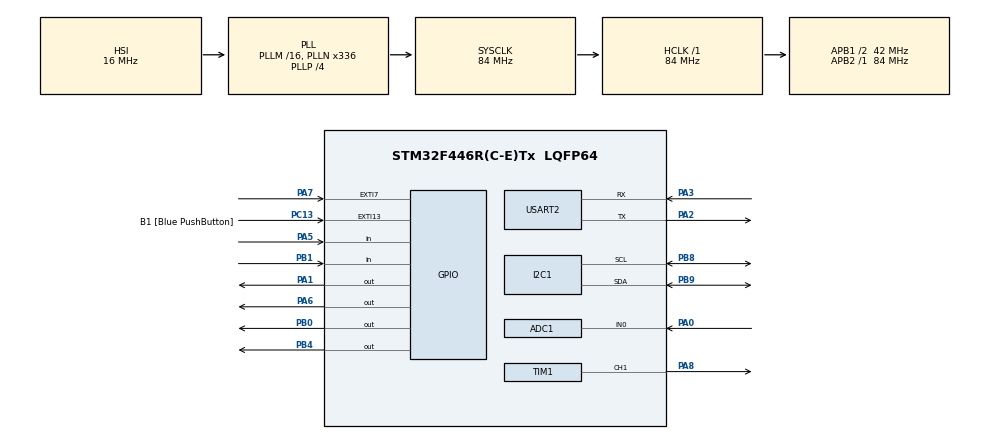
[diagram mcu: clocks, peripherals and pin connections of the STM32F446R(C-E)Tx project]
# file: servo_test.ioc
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ADC1.Channel-0\#ChannelRegularConversion=ADC_CHANNEL_0
ADC1.NbrOfConversionFlag=1
ADC1.Rank-0\#ChannelRegularConversion=1
ADC1.SamplingTime-0\#ChannelRegularConversion=ADC_SAMPLETIME_3CYCLES
ADC1.master=1
Mcu.Family=STM32F4
Mcu.Name=STM32F446R(C-E)Tx
Mcu.Package=LQFP64
NVIC.EXTI15_10_IRQn=true\:0\:0\:false\:false\:true\:true\:true\:true
NVIC.EXTI9_5_IRQn=true\:0\:0\:false\:false\:true\:true\:true\:true
NVIC.PriorityGroup=NVIC_PRIORITYGROUP_0
PA0-WKUP.Signal=ADCx_IN0
PA1.Signal=GPIO_Output
PA13.GPIO_Label=TMS
PA13.Mode=Serial_Wire
PA13.Signal=SYS_JTMS-SWDIO
PA14.GPIO_Label=TCK
PA14.Mode=Serial_Wire
PA14.Signal=SYS_JTCK-SWCLK
PA2.Mode=Asynchronous
PA2.Signal=USART2_TX
PA3.Mode=Asynchronous
PA3.Signal=USART2_RX
PA5.Signal=GPIO_Input
PA6.Signal=GPIO_Output
PA7.GPIO_PuPd=GPIO_PULLUP
PA7.Signal=GPXTI7
PA8.Signal=S_TIM1_CH1
PB0.PinState=GPIO_PIN_SET
PB0.Signal=GPIO_Output
PB1.Signal=GPIO_Input
PB3.GPIO_Label=SWO
PB3.Signal=SYS_JTDO-SWO
PB4.Signal=GPIO_Output
PB8.Mode=I2C
PB8.Signal=I2C1_SCL
PB9.Mode=I2C
PB9.Signal=I2C1_SDA
PC13.GPIO_Label=B1 [Blue PushButton]
PC13.GPIO_ModeDefaultEXTI=GPIO_MODE_IT_FALLING
PC13.Signal=GPXTI13
PC14-OSC32_IN.Mode=LSE-External-Oscillator
PC14-OSC32_IN.Signal=RCC_OSC32_IN
PC15-OSC32_OUT.Mode=LSE-External-Oscillator
PC15-OSC32_OUT.Signal=RCC_OSC32_OUT
PH0-OSC_IN.Mode=HSE-External-Oscillator
PH0-OSC_IN.Signal=RCC_OSC_IN
PH1-OSC_OUT.Mode=HSE-External-Oscillator
PH1-OSC_OUT.Signal=RCC_OSC_OUT
ProjectManager.HeapSize=0x200
ProjectManager.StackSize=0x400
ProjectManager.TargetToolchain=STM32CubeIDE
RCC.48MHZClocksFreq_Value=84000000
RCC.AHBFreq_Value=84000000
RCC.APB1CLKDivider=RCC_HCLK_DIV2
RCC.APB1Freq_Value=42000000
RCC.APB1TimFreq_Value=84000000
RCC.APB2Freq_Value=84000000
RCC.APB2TimFreq_Value=84000000
RCC.CortexFreq_Value=84000000
RCC.FLatency-AdvancedSettings=FLASH_LATENCY_2
RCC.HCLKFreq_Value=84000000
RCC.HSE_VALUE=8000000
RCC.HSI_VALUE=16000000
RCC.PLLN=336
RCC.PLLP=RCC_PLLP_DIV4
RCC.SYSCLKFreq_VALUE=84000000
RCC.SYSCLKSource=RCC_SYSCLKSOURCE_PLLCLK
RCC.USBFreq_Value=168000000
RCC.VCOOutputFreq_Value=336000000
SH.ADCx_IN0.0=ADC1_IN0,IN0
SH.S_TIM1_CH1.0=TIM1_CH1,PWM Generation1 CH1
TIM1.Channel-PWM\ Generation1\ CH1=TIM_CHANNEL_1
TIM1.Period=19999
TIM1.Prescaler=89
TIM2.Period=65535
TIM2.Prescaler=84-1
USART2.VirtualMode=VM_ASYNC
VP_TIM1_VS_ClockSourceINT.Mode=Internal
VP_TIM2_VS_ClockSourceINT.Mode=Internal
board=NUCLEO-F446RE

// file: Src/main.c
/* USER CODE BEGIN Header */
/**
  ******************************************************************************
  * @file           : main.c
  * @brief          : Main program body
  ******************************************************************************
  * @attention
  *
  * Copyright (c) 2026 STMicroelectronics.
  * All rights reserved.
  *
  * This software is licensed under terms that can be found in the LICENSE file
  * in the root directory of this software component.
  * If no LICENSE file comes with this software, it is provided AS-IS.
  *
  ******************************************************************************
  */
/* USER CODE END Header */
#include "main.h"

/* USER CODE BEGIN Includes */
#include <stdio.h>
#include <string.h>
#include "lcd_i2c.h"
/* USER CODE END Includes */

/* USER CODE BEGIN PD */
/* USER CODE BEGIN PD */
#define DHT11_PIN GPIO_PIN_1
#define DHT11_GPIO_Port GPIOA
/* USER CODE END PD */

ADC_HandleTypeDef hadc1;

I2C_HandleTypeDef hi2c1;

TIM_HandleTypeDef htim1;
TIM_HandleTypeDef htim2;

UART_HandleTypeDef huart2;

/* USER CODE BEGIN PV */
// ===== SYSTEM STATE =====
uint8_t alarm_type = 0;
uint8_t gas_state = 0;

// ===== SERVO =====
uint16_t servo_pos = 1500;

// ===== TIMERS =====
uint32_t last_sensor_time = 0;
uint32_t last_display_time = 0;
uint32_t last_uart_time = 0;
#define GAS_THRESHOLD      350
#define PRESSURE_LOW       960
#define FLOW_MIN           0.5
#define GAS_ON_THRESHOLD   350
#define GAS_OFF_THRESHOLD  300
volatile uint32_t flow_pulse_count = 0;
float flow_rate = 0;
uint32_t last_flow_time = 0;
uint32_t threshold = 350;
uint32_t gas_value = 0;
uint8_t vibration = 0;
uint32_t buzzer_timer = 0;
uint8_t buzzer_state = 0;
float dht_temp = 0;
long hx_raw = 0;
float pressure = 0;

// FLAGS
uint8_t gas_leak = 0;
uint8_t pressure_issue = 0;
uint8_t flow_issue = 0;
uint8_t vibration_alert = 0;
/* USER CODE END PV */

void SystemClock_Config(void);
static void MX_GPIO_Init(void);
static void MX_TIM1_Init(void);
static void MX_USART2_UART_Init(void);
static void MX_ADC1_Init(void);
static void MX_TIM2_Init(void);
static void MX_I2C1_Init(void);
/* USER CODE BEGIN PFP */
void delay_us(uint16_t us);
uint8_t DHT11_Read(float *temp);
/* USER CODE END PFP */

/* USER CODE BEGIN 0 */
void delay_us(uint16_t us)
{
    __HAL_TIM_SET_COUNTER(&htim2, 0);
    while (__HAL_TIM_GET_COUNTER(&htim2) < us);
}

void Alarm_On()
{
    HAL_GPIO_WritePin(GPIOA, GPIO_PIN_6, GPIO_PIN_SET);
}

void Alarm_Off()
{
    HAL_GPIO_WritePin(GPIOA, GPIO_PIN_6, GPIO_PIN_RESET);
}
// ===== HX710B =====
#define HX_DT_PORT GPIOB
#define HX_DT_PIN  GPIO_PIN_1

#define HX_SCK_PORT GPIOB
#define HX_SCK_PIN  GPIO_PIN_4

long HX710B_Read(void)
{
    long data = 0;

    // Wait for data ready (DT LOW)
    uint32_t timeout = HAL_GetTick();

    while(HAL_GPIO_ReadPin(HX_DT_PORT, HX_DT_PIN))
    {
        if(HAL_GetTick() - timeout > 100)
            return 0; // prevent hang
    }

    for(int i = 0; i < 24; i++)
    {
        HAL_GPIO_WritePin(HX_SCK_PORT, HX_SCK_PIN, GPIO_PIN_SET);
        delay_us(1);

        data = data << 1;

        HAL_GPIO_WritePin(HX_SCK_PORT, HX_SCK_PIN, GPIO_PIN_RESET);
        delay_us(1);

        if(HAL_GPIO_ReadPin(HX_DT_PORT, HX_DT_PIN))
            data++;
    }

    // 25th pulse
    HAL_GPIO_WritePin(HX_SCK_PORT, HX_SCK_PIN, GPIO_PIN_SET);
    delay_us(1);
    HAL_GPIO_WritePin(HX_SCK_PORT, HX_SCK_PIN, GPIO_PIN_RESET);
    delay_us(1);

    // Convert to signed
    if(data & 0x800000)
        data |= 0xFF000000;

    return data;
}
// ===== DHT22 =====
uint8_t DHT11_Read(float *temp)
{
    uint8_t data[5] = {0};
    GPIO_InitTypeDef GPIO_InitStruct = {0};

    // ---------- STEP 1: OUTPUT LOW ----------
    GPIO_InitStruct.Pin = DHT11_PIN;
    GPIO_InitStruct.Mode = GPIO_MODE_OUTPUT_PP;
    GPIO_InitStruct.Pull = GPIO_NOPULL;
    HAL_GPIO_Init(DHT11_GPIO_Port, &GPIO_InitStruct);

    HAL_GPIO_WritePin(DHT11_GPIO_Port, DHT11_PIN, GPIO_PIN_RESET);
    HAL_Delay(18);

    HAL_GPIO_WritePin(DHT11_GPIO_Port, DHT11_PIN, GPIO_PIN_SET);
    delay_us(30);

    // ---------- STEP 2: INPUT ----------
    GPIO_InitStruct.Mode = GPIO_MODE_INPUT;
    HAL_GPIO_Init(DHT11_GPIO_Port, &GPIO_InitStruct);

    // ---------- STEP 3: WAIT RESPONSE ----------
    if(HAL_GPIO_ReadPin(DHT11_GPIO_Port, DHT11_PIN))
        return 0;

    uint32_t timeout = HAL_GetTick();
    while(!HAL_GPIO_ReadPin(DHT11_GPIO_Port, DHT11_PIN))
    {
        if(HAL_GetTick() - timeout > 2) return 0;
    }
    while(HAL_GPIO_ReadPin(DHT11_GPIO_Port, DHT11_PIN));

    // ---------- STEP 4: READ 40 BITS ----------
    for(int i = 0; i < 40; i++)
    {
        while(!HAL_GPIO_ReadPin(DHT11_GPIO_Port, DHT11_PIN));
        delay_us(40);

        if(HAL_GPIO_ReadPin(DHT11_GPIO_Port, DHT11_PIN))
            data[i/8] |= (1 << (7 - (i % 8)));

        while(HAL_GPIO_ReadPin(DHT11_GPIO_Port, DHT11_PIN));
    }

    // ---------- STEP 5: BACK TO OUTPUT ----------
    GPIO_InitStruct.Mode = GPIO_MODE_OUTPUT_PP;
    HAL_GPIO_Init(DHT11_GPIO_Port, &GPIO_InitStruct);
    HAL_GPIO_WritePin(DHT11_GPIO_Port, DHT11_PIN, GPIO_PIN_SET);

    // ---------- STEP 6: CHECKSUM ----------
    if(data[4] != (data[0] + data[1] + data[2] + data[3]))
        return 0;

    // ---------- STEP 7: TEMPERATURE ----------
    *temp = data[2];   // DHT11 gives integer temp

    return 1;
}
/* USER CODE END 0 */

int main(void)
{

  /* MCU Configuration--------------------------------------------------------*/

  /* Reset of all peripherals, Initializes the Flash interface and the Systick. */
  HAL_Init();

  /* Configure the system clock */
  SystemClock_Config();

  /* Initialize all configured peripherals */
  MX_GPIO_Init();
  MX_TIM1_Init();
  MX_USART2_UART_Init();
  MX_ADC1_Init();
  MX_TIM2_Init();
  MX_I2C1_Init();
  /* USER CODE BEGIN 2 */
  HAL_TIM_PWM_Start(&htim1, TIM_CHANNEL_1);
  HAL_TIM_Base_Start(&htim2);

  LCD_Init(&hi2c1);
  LCD_Clear();
  LCD_Set_Cursor(0,0);
  LCD_Send_String("SYSTEM START");
  HAL_Delay(1000);
  LCD_Clear();
  /* USER CODE END 2 */

  /* Infinite loop */
  /* USER CODE BEGIN WHILE */
  /* USER CODE BEGIN WHILE */
  /* USER CODE BEGIN WHILE */
  while (1)
  {
      uint32_t now = HAL_GetTick();

      // ================= SENSOR READ (EVERY 200 ms) =================
      // ================= SENSOR READ =================
      if(now - last_sensor_time >= 1000)   // DHT22 needs slow read
      {
          last_sensor_time = now;

          // ---- GAS ----
          HAL_ADC_Start(&hadc1);
          HAL_ADC_PollForConversion(&hadc1, 10);
          gas_value = HAL_ADC_GetValue(&hadc1);

          // ---- DHT22 ----

          if(DHT11_Read(&dht_temp) == 0)
          {
              HAL_Delay(10);  // small retry delay

              if(DHT11_Read(&dht_temp) == 0)
              {
                  dht_temp = -1; // still failed
              }
          }
          // ---- HX710B ----
          long sum = 0;
          int valid = 0;

          for(int i=0;i<5;i++)
          {
              long val = HX710B_Read();

              if(val != 0)   // ignore timeout values
              {
                  sum += val;
                  valid++;
              }
          }

        	  static long hx_filtered = 0;

        	  if(valid > 0)
        	  {
        	      long new_val = sum / valid;

        	      // simple low-pass filter
        	      hx_filtered = (hx_filtered * 0.8) + (new_val * 0.2);

        	      hx_raw = hx_filtered;
        	  }
          else
              hx_raw = 0;  // sensor fail

          // Convert to pressure (CALIBRATE THIS)
          pressure = (hx_raw + 857600) / 1000.0;// adjust later

          // ---- VIBRATION ----
          vibration = HAL_GPIO_ReadPin(GPIOA, GPIO_PIN_5);

          // ---- FLOW ----
          if(now - last_flow_time >= 1000)
          {
              flow_rate = flow_pulse_count / 7.5;
              flow_pulse_count = 0;
              last_flow_time = now;
          }
      }
      // ================= PROCESS LOGIC =================
      // GAS hysteresis using calibrated threshold
      if(gas_value > threshold)
          gas_state = 1;
      else if(gas_value < (threshold - 50))
          gas_state = 0;

      pressure_issue = (pressure < PRESSURE_LOW);
      uint8_t flow_issue = (flow_rate < FLOW_MIN);
      uint8_t vibration_alert = (vibration == 1);

      // PRIORITY LOGIC
      if (gas_state && pressure_issue)
          alarm_type = 3;
      else if (gas_state)
          alarm_type = 2;
      else if (!gas_state && flow_issue)
          alarm_type = 1;
      else if (vibration_alert)
          alarm_type = 4;
      else
          alarm_type = 0;

      // ================= ACTUATORS =================
      uint16_t new_pos = servo_pos;

      switch(alarm_type)
      {
          case 3: new_pos = 1000; break;
          case 2: new_pos = 1200; break;
          default: new_pos = 2000; break;
      }

      if(new_pos != servo_pos)
      {
          servo_pos = new_pos;
          __HAL_TIM_SET_COMPARE(&htim1, TIM_CHANNEL_1, servo_pos);
      }

      // Buzzer (non-blocking)
      // ================= BUZZER PATTERN =================
      uint32_t now_buzz = HAL_GetTick();

      switch(alarm_type)
      {
          case 3: // 🔴 CRITICAL (FAST BEEP)
              if(now_buzz - buzzer_timer >= 100)
              {
                  buzzer_timer = now_buzz;
                  buzzer_state ^= 1;
                  HAL_GPIO_WritePin(GPIOA, GPIO_PIN_6, buzzer_state);
              }
              break;

          case 2: // 🟠 GAS (MEDIUM BEEP)
              if(now_buzz - buzzer_timer >= 300)
              {
                  buzzer_timer = now_buzz;
                  buzzer_state ^= 1;
                  HAL_GPIO_WritePin(GPIOA, GPIO_PIN_6, buzzer_state);
              }
              break;

          case 1: // 🟡 FLOW (SLOW BEEP)
              if(now_buzz - buzzer_timer >= 700)
              {
                  buzzer_timer = now_buzz;
                  buzzer_state ^= 1;
                  HAL_GPIO_WritePin(GPIOA, GPIO_PIN_6, buzzer_state);
              }
              break;

          case 4: // 🟣 VIBRATION (DOUBLE TAP)
              if(now_buzz - buzzer_timer >= 200)
              {
                  buzzer_timer = now_buzz;
                  buzzer_state ^= 1;
                  HAL_GPIO_WritePin(GPIOA, GPIO_PIN_6, buzzer_state);
              }
              break;

          default: // 🟢 SAFE
              HAL_GPIO_WritePin(GPIOA, GPIO_PIN_6, GPIO_PIN_RESET);
              buzzer_state = 0;
              break;
      }

      // ================= DISPLAY (EVERY 500 ms) =================
      if(now - last_display_time >= 500)
      {
          last_display_time = now;

          char line1[17];
          char line2[17];
          sprintf(line1, "G:%lu P:%.1f", gas_value, pressure);

          if(alarm_type == 3)
              sprintf(line2, "CRITICAL!");
          else if(alarm_type == 2)
              sprintf(line2, "GAS ALERT");
          else if(alarm_type == 1)
              sprintf(line2, "FLOW LOW");
          else if(alarm_type == 4)
              sprintf(line2, "VIBRATION");
          else
              sprintf(line2, "FLOW:%.1f OK", flow_rate);

          LCD_Clear();

          LCD_Set_Cursor(0,0);
          LCD_Send_String(line1);

          LCD_Set_Cursor(1,0);
          LCD_Send_String(line2);
      }
      int _write(int file, char *ptr, int len)
      {
          HAL_UART_Transmit(&huart2, (uint8_t*)ptr, len, HAL_MAX_DELAY);
          return len;
      }

      // ================= UART DEBUG (EVERY 1 sec) =================
      if(now - last_uart_time >= 1000)
      {
          last_uart_time = now;

          char msg[200];

          sprintf(msg,
          "%lu,%.1f,%.2f,%.2f,%d,%d\r\n",
          gas_value,
          dht_temp,
          pressure,
          flow_rate,
          vibration,
          alarm_type);

          HAL_UART_Transmit(&huart2, (uint8_t*)msg, strlen(msg), 100);
      }  }
    /* USER CODE END WHILE */

}

void SystemClock_Config(void)
{
  RCC_OscInitTypeDef RCC_OscInitStruct = {0};
  RCC_ClkInitTypeDef RCC_ClkInitStruct = {0};

  /** Configure the main internal regulator output voltage
  */
  __HAL_RCC_PWR_CLK_ENABLE();
  __HAL_PWR_VOLTAGESCALING_CONFIG(PWR_REGULATOR_VOLTAGE_SCALE3);

  /** Initializes the RCC Oscillators according to the specified parameters
  * in the RCC_OscInitTypeDef structure.
  */
  RCC_OscInitStruct.OscillatorType = RCC_OSCILLATORTYPE_HSI;
  RCC_OscInitStruct.HSIState = RCC_HSI_ON;
  RCC_OscInitStruct.HSICalibrationValue = RCC_HSICALIBRATION_DEFAULT;
  RCC_OscInitStruct.PLL.PLLState = RCC_PLL_ON;
  RCC_OscInitStruct.PLL.PLLSource = RCC_PLLSOURCE_HSI;
  RCC_OscInitStruct.PLL.PLLM = 16;
  RCC_OscInitStruct.PLL.PLLN = 336;
  RCC_OscInitStruct.PLL.PLLP = RCC_PLLP_DIV4;
  RCC_OscInitStruct.PLL.PLLQ = 2;
  RCC_OscInitStruct.PLL.PLLR = 2;
  if (HAL_RCC_OscConfig(&RCC_OscInitStruct) != HAL_OK)
  {
    Error_Handler();
  }

  /** Initializes the CPU, AHB and APB buses clocks
  */
  RCC_ClkInitStruct.ClockType = RCC_CLOCKTYPE_HCLK|RCC_CLOCKTYPE_SYSCLK
                              |RCC_CLOCKTYPE_PCLK1|RCC_CLOCKTYPE_PCLK2;
  RCC_ClkInitStruct.SYSCLKSource = RCC_SYSCLKSOURCE_PLLCLK;
  RCC_ClkInitStruct.AHBCLKDivider = RCC_SYSCLK_DIV1;
  RCC_ClkInitStruct.APB1CLKDivider = RCC_HCLK_DIV2;
  RCC_ClkInitStruct.APB2CLKDivider = RCC_HCLK_DIV1;

  if (HAL_RCC_ClockConfig(&RCC_ClkInitStruct, FLASH_LATENCY_2) != HAL_OK)
  {
    Error_Handler();
  }
}

static void MX_ADC1_Init(void)
{

  ADC_ChannelConfTypeDef sConfig = {0};

  /** Configure the global features of the ADC (Clock, Resolution, Data Alignment and number of conversion)
  */
  hadc1.Instance = ADC1;
  hadc1.Init.ClockPrescaler = ADC_CLOCK_SYNC_PCLK_DIV4;
  hadc1.Init.Resolution = ADC_RESOLUTION_12B;
  hadc1.Init.ScanConvMode = DISABLE;
  hadc1.Init.ContinuousConvMode = DISABLE;
  hadc1.Init.DiscontinuousConvMode = DISABLE;
  hadc1.Init.ExternalTrigConvEdge = ADC_EXTERNALTRIGCONVEDGE_NONE;
  hadc1.Init.ExternalTrigConv = ADC_SOFTWARE_START;
  hadc1.Init.DataAlign = ADC_DATAALIGN_RIGHT;
  hadc1.Init.NbrOfConversion = 1;
  hadc1.Init.DMAContinuousRequests = DISABLE;
  hadc1.Init.EOCSelection = ADC_EOC_SINGLE_CONV;
  if (HAL_ADC_Init(&hadc1) != HAL_OK)
  {
    Error_Handler();
  }

  /** Configure for the selected ADC regular channel its corresponding rank in the sequencer and its sample time.
  */
  sConfig.Channel = ADC_CHANNEL_0;
  sConfig.Rank = 1;
  sConfig.SamplingTime = ADC_SAMPLETIME_3CYCLES;
  if (HAL_ADC_ConfigChannel(&hadc1, &sConfig) != HAL_OK)
  {
    Error_Handler();
  }

}

static void MX_I2C1_Init(void)
{

  hi2c1.Instance = I2C1;
  hi2c1.Init.ClockSpeed = 100000;
  hi2c1.Init.DutyCycle = I2C_DUTYCYCLE_2;
  hi2c1.Init.OwnAddress1 = 0;
  hi2c1.Init.AddressingMode = I2C_ADDRESSINGMODE_7BIT;
  hi2c1.Init.DualAddressMode = I2C_DUALADDRESS_DISABLE;
  hi2c1.Init.OwnAddress2 = 0;
  hi2c1.Init.GeneralCallMode = I2C_GENERALCALL_DISABLE;
  hi2c1.Init.NoStretchMode = I2C_NOSTRETCH_DISABLE;
  if (HAL_I2C_Init(&hi2c1) != HAL_OK)
  {
    Error_Handler();
  }

}

static void MX_TIM1_Init(void)
{

  TIM_ClockConfigTypeDef sClockSourceConfig = {0};
  TIM_MasterConfigTypeDef sMasterConfig = {0};
  TIM_OC_InitTypeDef sConfigOC = {0};
  TIM_BreakDeadTimeConfigTypeDef sBreakDeadTimeConfig = {0};

  htim1.Instance = TIM1;
  htim1.Init.Prescaler = 89;
  htim1.Init.CounterMode = TIM_COUNTERMODE_UP;
  htim1.Init.Period = 19999;
  htim1.Init.ClockDivision = TIM_CLOCKDIVISION_DIV1;
  htim1.Init.RepetitionCounter = 0;
  htim1.Init.AutoReloadPreload = TIM_AUTORELOAD_PRELOAD_DISABLE;
  if (HAL_TIM_Base_Init(&htim1) != HAL_OK)
  {
    Error_Handler();
  }
  sClockSourceConfig.ClockSource = TIM_CLOCKSOURCE_INTERNAL;
  if (HAL_TIM_ConfigClockSource(&htim1, &sClockSourceConfig) != HAL_OK)
  {
    Error_Handler();
  }
  if (HAL_TIM_PWM_Init(&htim1) != HAL_OK)
  {
    Error_Handler();
  }
  sMasterConfig.MasterOutputTrigger = TIM_TRGO_RESET;
  sMasterConfig.MasterSlaveMode = TIM_MASTERSLAVEMODE_DISABLE;
  if (HAL_TIMEx_MasterConfigSynchronization(&htim1, &sMasterConfig) != HAL_OK)
  {
    Error_Handler();
  }
  sConfigOC.OCMode = TIM_OCMODE_PWM1;
  sConfigOC.Pulse = 0;
  sConfigOC.OCPolarity = TIM_OCPOLARITY_HIGH;
  sConfigOC.OCNPolarity = TIM_OCNPOLARITY_HIGH;
  sConfigOC.OCFastMode = TIM_OCFAST_DISABLE;
  sConfigOC.OCIdleState = TIM_OCIDLESTATE_RESET;
  sConfigOC.OCNIdleState = TIM_OCNIDLESTATE_RESET;
  if (HAL_TIM_PWM_ConfigChannel(&htim1, &sConfigOC, TIM_CHANNEL_1) != HAL_OK)
  {
    Error_Handler();
  }
  sBreakDeadTimeConfig.OffStateRunMode = TIM_OSSR_DISABLE;
  sBreakDeadTimeConfig.OffStateIDLEMode = TIM_OSSI_DISABLE;
  sBreakDeadTimeConfig.LockLevel = TIM_LOCKLEVEL_OFF;
  sBreakDeadTimeConfig.DeadTime = 0;
  sBreakDeadTimeConfig.BreakState = TIM_BREAK_DISABLE;
  sBreakDeadTimeConfig.BreakPolarity = TIM_BREAKPOLARITY_HIGH;
  sBreakDeadTimeConfig.AutomaticOutput = TIM_AUTOMATICOUTPUT_DISABLE;
  if (HAL_TIMEx_ConfigBreakDeadTime(&htim1, &sBreakDeadTimeConfig) != HAL_OK)
  {
    Error_Handler();
  }
  HAL_TIM_MspPostInit(&htim1);

}

static void MX_TIM2_Init(void)
{

  TIM_ClockConfigTypeDef sClockSourceConfig = {0};
  TIM_MasterConfigTypeDef sMasterConfig = {0};

  htim2.Instance = TIM2;
  htim2.Init.Prescaler = 84-1;
  htim2.Init.CounterMode = TIM_COUNTERMODE_UP;
  htim2.Init.Period = 65535;
  htim2.Init.ClockDivision = TIM_CLOCKDIVISION_DIV1;
  htim2.Init.AutoReloadPreload = TIM_AUTORELOAD_PRELOAD_DISABLE;
  if (HAL_TIM_Base_Init(&htim2) != HAL_OK)
  {
    Error_Handler();
  }
  sClockSourceConfig.ClockSource = TIM_CLOCKSOURCE_INTERNAL;
  if (HAL_TIM_ConfigClockSource(&htim2, &sClockSourceConfig) != HAL_OK)
  {
    Error_Handler();
  }
  sMasterConfig.MasterOutputTrigger = TIM_TRGO_RESET;
  sMasterConfig.MasterSlaveMode = TIM_MASTERSLAVEMODE_DISABLE;
  if (HAL_TIMEx_MasterConfigSynchronization(&htim2, &sMasterConfig) != HAL_OK)
  {
    Error_Handler();
  }

}

static void MX_USART2_UART_Init(void)
{

  huart2.Instance = USART2;
  huart2.Init.BaudRate = 115200;
  huart2.Init.WordLength = UART_WORDLENGTH_8B;
  huart2.Init.StopBits = UART_STOPBITS_1;
  huart2.Init.Parity = UART_PARITY_NONE;
  huart2.Init.Mode = UART_MODE_TX_RX;
  huart2.Init.HwFlowCtl = UART_HWCONTROL_NONE;
  huart2.Init.OverSampling = UART_OVERSAMPLING_16;
  if (HAL_UART_Init(&huart2) != HAL_OK)
  {
    Error_Handler();
  }

}

static void MX_GPIO_Init(void)
{
  GPIO_InitTypeDef GPIO_InitStruct = {0};

  /* GPIO Ports Clock Enable */
  __HAL_RCC_GPIOC_CLK_ENABLE();
  __HAL_RCC_GPIOH_CLK_ENABLE();
  __HAL_RCC_GPIOA_CLK_ENABLE();
  __HAL_RCC_GPIOB_CLK_ENABLE();

  /*Configure GPIO pin Output Level */
  HAL_GPIO_WritePin(GPIOA, GPIO_PIN_1|GPIO_PIN_6, GPIO_PIN_RESET);

  /*Configure GPIO pin Output Level */
  HAL_GPIO_WritePin(GPIOB, GPIO_PIN_0, GPIO_PIN_SET);

  /*Configure GPIO pin Output Level */
  HAL_GPIO_WritePin(GPIOB, GPIO_PIN_4, GPIO_PIN_RESET);

  /*Configure GPIO pin : B1_Pin */
  GPIO_InitStruct.Pin = B1_Pin;
  GPIO_InitStruct.Mode = GPIO_MODE_IT_FALLING;
  GPIO_InitStruct.Pull = GPIO_NOPULL;
  HAL_GPIO_Init(B1_GPIO_Port, &GPIO_InitStruct);

  /*Configure GPIO pins : PA1 PA6 */
  /*Configure GPIO pins : PA1 PA6 */
  GPIO_InitStruct.Pin = GPIO_PIN_1 | GPIO_PIN_6;
  GPIO_InitStruct.Mode = GPIO_MODE_OUTPUT_PP;
  GPIO_InitStruct.Pull = GPIO_NOPULL;
  GPIO_InitStruct.Speed = GPIO_SPEED_FREQ_LOW;
  HAL_GPIO_Init(GPIOA, &GPIO_InitStruct);

  /*Configure GPIO pin : PA5 */
  GPIO_InitStruct.Pin = GPIO_PIN_5;
  GPIO_InitStruct.Mode = GPIO_MODE_INPUT;
  GPIO_InitStruct.Pull = GPIO_NOPULL;
  HAL_GPIO_Init(GPIOA, &GPIO_InitStruct);

  /*Configure GPIO pin : PA7 */
  GPIO_InitStruct.Pin = GPIO_PIN_7;
  GPIO_InitStruct.Mode = GPIO_MODE_IT_RISING;
  GPIO_InitStruct.Pull = GPIO_PULLUP;
  HAL_GPIO_Init(GPIOA, &GPIO_InitStruct);

  /*Configure GPIO pins : PB0 PB4 */
  GPIO_InitStruct.Pin = GPIO_PIN_0|GPIO_PIN_4;
  GPIO_InitStruct.Mode = GPIO_MODE_OUTPUT_PP;
  GPIO_InitStruct.Pull = GPIO_NOPULL;
  GPIO_InitStruct.Speed = GPIO_SPEED_FREQ_LOW;
  HAL_GPIO_Init(GPIOB, &GPIO_InitStruct);

  /*Configure GPIO pin : PB1 */
  GPIO_InitStruct.Pin = GPIO_PIN_1;
  GPIO_InitStruct.Mode = GPIO_MODE_INPUT;
  GPIO_InitStruct.Pull = GPIO_NOPULL;
  HAL_GPIO_Init(GPIOB, &GPIO_InitStruct);

  /* EXTI interrupt init*/
  HAL_NVIC_SetPriority(EXTI9_5_IRQn, 0, 0);
  HAL_NVIC_EnableIRQ(EXTI9_5_IRQn);

  HAL_NVIC_SetPriority(EXTI15_10_IRQn, 0, 0);
  HAL_NVIC_EnableIRQ(EXTI15_10_IRQn);

}

/* USER CODE BEGIN 4 */
/* USER CODE BEGIN 4 */
/* USER CODE BEGIN 4 */

void HAL_GPIO_EXTI_Callback(uint16_t GPIO_Pin)
{
    // ===== FLOW SENSOR (PA7) =====
    if(GPIO_Pin == GPIO_PIN_7)
    {
        flow_pulse_count++;   // count pulses
    }

    // ===== BUTTON (PC13) =====
    if(GPIO_Pin == GPIO_PIN_13)
    {
        uint32_t sum = 0;

        for(int i = 0; i < 10; i++)
        {
            HAL_ADC_Start(&hadc1);
            HAL_ADC_PollForConversion(&hadc1, 10);
            sum += HAL_ADC_GetValue(&hadc1);
            HAL_Delay(50);
        }

        threshold = (sum / 10) + 100;
    }
}
/* USER CODE END 4 */

void Error_Handler(void)
{
	    __disable_irq();
	    while (1)
	    {
	    }
}
